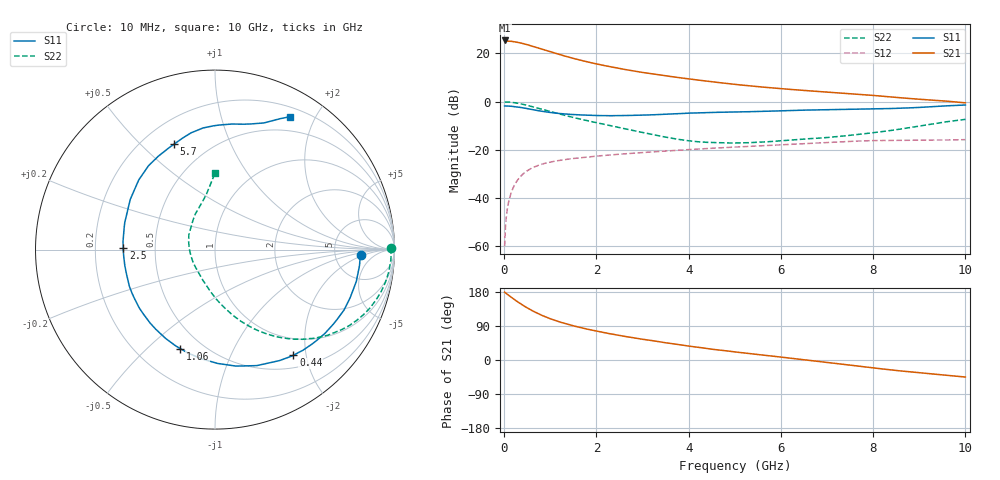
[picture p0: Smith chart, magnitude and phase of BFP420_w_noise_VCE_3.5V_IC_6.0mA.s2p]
! Infineon Technologies  Discrete & RF Semiconductors
! BFP420
! VCE =  3.5 V,  IC =  6.0 mA
! Common Emitter S-Parameters:  Jan 2016
# GHz  S  MA  R  50
!  f  S11  S21  S12  S22
! GHz  MAG  ANG  MAG  ANG  MAG  ANG  MAG  ANG
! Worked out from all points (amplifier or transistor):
!   233 points, 10 MHz to 10 GHz, reference 50 ohm
!   highest |S21| = 25.4 dB at 10 MHz (marker M1)
!   |S21| within 3 dB of that: start of sweep to 717.8 MHz
!   unconditionally stable (mu >= 1): start of sweep to 10.29 MHz; 2.837 GHz to end of sweep
!   at 200 MHz: K = 0.12, MSG = 30.3 dB, |S12| = -35.6 dB
!   at 1.74 GHz: K = 0.66, MSG = 19.9 dB, |S12| = -23.1 dB
!   at 10 GHz: K = 1.11, MAG = 5.6 dB, |S12| = -15.8 dB
!   lowest NFmin = 0.70 dB at 900 MHz
!   S11 on the Smith chart (normalised r, x): 10 MHz: 9.36, -1.55; 440 MHz: 0.70, -1.77; 1.06 GHz: 0.38, -0.64; 2.5 GHz: 0.32, +0.01; 5.7 GHz: 0.32, +0.63; 10 GHz: 0.31, +1.67
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0.01  0.8116 -2.0  18.54 179.0  0.001 37.5  0.9787 0.5
0.02  0.8099 -2.4  18.08 178.0  0.0018 70.0  0.9819 -1.4
0.07  0.8077 -8.8  18.03 173.2  0.006 80.1  0.9792 -4.9
0.15  0.8003 -19.0  17.84 166.0  0.0126 78.4  0.9678 -10.6
0.24  0.7833 -30.0  17.29 158.0  0.0197 73.5  0.9435 -16.6
0.34  0.7591 -42.1  16.59 149.7  0.027 68.4  0.9069 -23.1
0.44  0.7327 -53.4  15.72 141.9  0.0333 63.4  0.8639 -28.9
0.6  0.687 -70.2  14.23 130.6  0.0418 56.6  0.7894 -37.2
0.7  0.6594 -79.8  13.3 124.4  0.046 53.1  0.7433 -41.6
0.9  0.6134 -97.0  11.57 113.5  0.0529 47.3  0.6581 -49.3
1.06  0.5846 -109.2  10.37 106.4  0.0571 43.8  0.5981 -54.4
1.2  0.5661 -119.1  9.454 100.5  0.0603 41.3  0.5509 -58.5
1.4  0.5461 -131.4  8.35 93.3  0.0642 38.4  0.4934 -63.6
1.68  0.5274 -146.4  7.128 84.8  0.069 35.4  0.4268 -69.9
2.02  0.5136 -161.8  5.993 75.8  0.0741 32.6  0.3623 -76.6
2.5  0.5114 179.2  4.86 64.8  0.0808 29.4  0.2884 -86.4
3.4  0.5416 152.0  3.532 47.5  0.0928 24.4  0.191 -108.5
5.1  0.6109 119.8  2.225 20.0  0.115 14.8  0.1387 -169.3
5.7  0.6299 111.4  1.963 11.8  0.1223 11.3  0.1464 171.5
6.8  0.6734 97.9  1.624 -3.5  0.1384 4.4  0.174 143.5
8.4  0.718 76.7  1.242 -26.3  0.1563 -10.4  0.2528 110.1
10  0.8494 60.6  0.942 -45.0  0.1622 -20.7  0.4276 90.0
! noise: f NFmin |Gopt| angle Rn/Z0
0.9  0.7  0.16  29  0.14
1.8  1.08  0.06  113  0.12
2.4  1.17  0.11  132  0.13
3  1.26  0.17  176  0.11
4  1.43  0.31  -139  0.13
5  1.82  0.38  -115  0.24
6  2.3  0.43  -99  0.37
